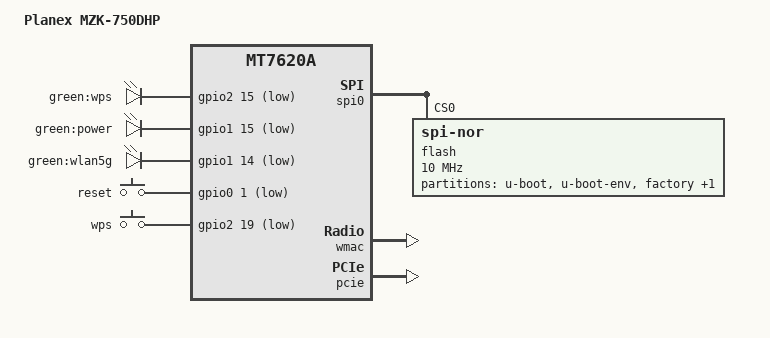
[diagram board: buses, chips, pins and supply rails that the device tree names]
#include "mt7620a.dtsi"

#include <dt-bindings/gpio/gpio.h>
#include <dt-bindings/input/input.h>

/ {
	compatible = "planex,mzk-750dhp", "ralink,mt7620a-soc";
	model = "Planex MZK-750DHP";

	aliases {
		led-boot = &led_power;
		led-failsafe = &led_power;
		led-running = &led_power;
		led-upgrade = &led_power;
	};

	leds {
		compatible = "gpio-leds";

		wps {
			label = "green:wps";
			gpios = <&gpio2 15 GPIO_ACTIVE_LOW>;
		};

		led_power: power {
			label = "green:power";
			gpios = <&gpio1 15 GPIO_ACTIVE_LOW>;
		};

		wlan5g {
			label = "green:wlan5g";
			gpios = <&gpio1 14 GPIO_ACTIVE_LOW>;
		};
	};

	keys {
		compatible = "gpio-keys";

		s1 {
			label = "reset";
			gpios = <&gpio0 1 GPIO_ACTIVE_LOW>;
			linux,code = <KEY_RESTART>;
		};

		s2 {
			label = "wps";
			gpios = <&gpio2 19 GPIO_ACTIVE_LOW>;
			linux,code = <KEY_WPS_BUTTON>;
		};
	};
};

&gpio1 {
	status = "okay";
};

&gpio2 {
	status = "okay";
};

&spi0 {
	status = "okay";

	flash@0 {
		compatible = "jedec,spi-nor";
		reg = <0>;
		spi-max-frequency = <10000000>;

		partitions {
			compatible = "fixed-partitions";
			#address-cells = <1>;
			#size-cells = <1>;

			partition@0 {
				label = "u-boot";
				reg = <0x0 0x30000>;
				read-only;
			};

			partition@30000 {
				label = "u-boot-env";
				reg = <0x30000 0x10000>;
				read-only;
			};

			factory: partition@40000 {
				label = "factory";
				reg = <0x40000 0x10000>;
				read-only;
			};

			partition@50000 {
				compatible = "denx,uimage";
				label = "firmware";
				reg = <0x50000 0x7b0000>;
			};
		};
	};
};

&state_default {
	gpio {
		groups = "i2c", "spi refclk", "rgmii1", "nd_sd";
		function = "gpio";
	};
};

&ethernet {
	pinctrl-names = "default";
	pinctrl-0 = <&ephy_pins>;

	nvmem-cells = <&macaddr_factory_4>;
	nvmem-cell-names = "mac-address";

	mediatek,portmap = "llllw";
};

&wmac {
	ralink,mtd-eeprom = <&factory 0x0>;
};

&pcie {
	status = "okay";
};

&pcie0 {
	mt76@0,0 {
		reg = <0x0000 0 0 0 0>;
		mediatek,mtd-eeprom = <&factory 0x8000>;
	};
};

&factory {
	compatible = "nvmem-cells";
	#address-cells = <1>;
	#size-cells = <1>;

	macaddr_factory_4: macaddr@4 {
		reg = <0x4 0x6>;
	};
};
